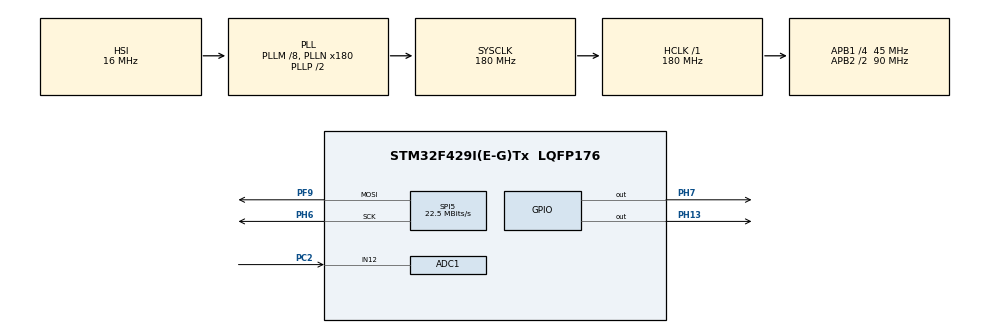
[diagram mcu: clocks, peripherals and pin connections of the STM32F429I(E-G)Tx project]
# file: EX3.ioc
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ADC1.Channel-0\#ChannelRegularConversion=ADC_CHANNEL_12
ADC1.DMAContinuousRequests=ENABLE
ADC1.ExternalTrigConv=ADC_EXTERNALTRIGCONV_T3_TRGO
ADC1.NbrOfConversionFlag=1
ADC1.Rank-0\#ChannelRegularConversion=1
ADC1.SamplingTime-0\#ChannelRegularConversion=ADC_SAMPLETIME_3CYCLES
ADC1.master=1
Dma.ADC1.0.Direction=DMA_PERIPH_TO_MEMORY
Dma.ADC1.0.FIFOMode=DMA_FIFOMODE_DISABLE
Dma.ADC1.0.Instance=DMA2_Stream0
Dma.ADC1.0.MemDataAlignment=DMA_MDATAALIGN_HALFWORD
Dma.ADC1.0.MemInc=DMA_MINC_ENABLE
Dma.ADC1.0.Mode=DMA_CIRCULAR
Dma.ADC1.0.PeriphDataAlignment=DMA_PDATAALIGN_HALFWORD
Dma.ADC1.0.PeriphInc=DMA_PINC_DISABLE
Dma.ADC1.0.Priority=DMA_PRIORITY_LOW
Dma.Request0=ADC1
Mcu.Family=STM32F4
Mcu.Name=STM32F429I(E-G)Tx
Mcu.Package=LQFP176
NVIC.DMA2_Stream0_IRQn=true\:0\:0\:false\:false\:true\:false\:true\:true
NVIC.PriorityGroup=NVIC_PRIORITYGROUP_4
PA13.Mode=Serial_Wire
PA13.Signal=SYS_JTMS-SWDIO
PA14.Mode=Serial_Wire
PA14.Signal=SYS_JTCK-SWCLK
PC2.Signal=ADCx_IN12
PF9.GPIO_PuPd=GPIO_PULLUP
PF9.Mode=TX_Only_Simplex_Unidirect_Master
PF9.Signal=SPI5_MOSI
PH0/OSC_IN.Mode=HSE-External-Oscillator
PH0/OSC_IN.Signal=RCC_OSC_IN
PH1/OSC_OUT.Mode=HSE-External-Oscillator
PH1/OSC_OUT.Signal=RCC_OSC_OUT
PH13.GPIO_PuPd=GPIO_PULLUP
PH13.GPIO_Speed=GPIO_SPEED_FREQ_VERY_HIGH
PH13.Signal=GPIO_Output
PH6.GPIO_PuPd=GPIO_PULLUP
PH6.Mode=TX_Only_Simplex_Unidirect_Master
PH6.Signal=SPI5_SCK
PH7.GPIO_PuPd=GPIO_PULLUP
PH7.GPIO_Speed=GPIO_SPEED_FREQ_VERY_HIGH
PH7.PinState=GPIO_PIN_SET
PH7.Signal=GPIO_Output
ProjectManager.HeapSize=0x200
ProjectManager.StackSize=0x400
ProjectManager.TargetToolchain=CMake
RCC.48MHZClocksFreq_Value=90000000
RCC.AHBFreq_Value=180000000
RCC.APB1CLKDivider=RCC_HCLK_DIV4
RCC.APB1Freq_Value=45000000
RCC.APB1TimFreq_Value=90000000
RCC.APB2CLKDivider=RCC_HCLK_DIV2
RCC.APB2Freq_Value=90000000
RCC.APB2TimFreq_Value=180000000
RCC.CortexFreq_Value=180000000
RCC.HCLKFreq_Value=180000000
RCC.HSE_VALUE=25000000
RCC.HSI_VALUE=16000000
RCC.LSE_VALUE=32768
RCC.PLLM=8
RCC.PLLN=180
RCC.SYSCLKFreq_VALUE=180000000
RCC.SYSCLKSource=RCC_SYSCLKSOURCE_PLLCLK
RCC.VCOOutputFreq_Value=360000000
SH.ADCx_IN12.0=ADC1_IN12,IN12
SPI5.BaudRatePrescaler=SPI_BAUDRATEPRESCALER_4
SPI5.CalculateBaudRate=22.5 MBits/s
SPI5.Direction=SPI_DIRECTION_2LINES
SPI5.Mode=SPI_MODE_MASTER
SPI5.VirtualType=VM_MASTER
TIM3.AutoReloadPreload=TIM_AUTORELOAD_PRELOAD_ENABLE
TIM3.Period=900-1
TIM3.Prescaler=100-1
TIM3.TIM_MasterOutputTrigger=TIM_TRGO_UPDATE
VP_TIM3_VS_ClockSourceINT.Mode=Internal
board=custom

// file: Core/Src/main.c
/* USER CODE BEGIN Header */
/**
  ******************************************************************************
  * @file           : main.c
  * @brief          : Main program body
  ******************************************************************************
  * @attention
  *
  * Copyright (c) 2026 STMicroelectronics.
  * All rights reserved.
  *
  * This software is licensed under terms that can be found in the LICENSE file
  * in the root directory of this software component.
  * If no LICENSE file comes with this software, it is provided AS-IS.
  *
  ******************************************************************************
  */
/* USER CODE END Header */
#include "main.h"
#include "adc.h"
#include "dma.h"
#include "spi.h"
#include "tim.h"
#include "gpio.h"

/* USER CODE BEGIN Includes */
#include "lcd.h"
#include "lcd_init.h"
#include "pic.h"
#include "delay.h"
#include <string.h>

/* USER CODE END Includes */

/* USER CODE BEGIN PV */
#define ADC_BUF_SIZE      720U
#define WAVE_WINDOW       480U
#define ADC_DMA_SIZE      (ADC_BUF_SIZE * 2)
#define ADC_MAX_VALUE     4095U
#define ADC_REFRESH_MS    500U

static uint16_t adc_dma_buf[ADC_DMA_SIZE];
static uint16_t adc_frame[2][ADC_BUF_SIZE];
static uint16_t adc_draw_buf[ADC_BUF_SIZE];
static uint16_t wave_new_y[LCD_W];
static uint16_t wave_prev_y[LCD_W];
static uint8_t  wave_prev_valid = 0;
static volatile uint8_t adc_frame_idx = 0;
static volatile uint8_t adc_ready = 0;
static uint32_t last_draw_tick = 0;
/* USER CODE END PV */

void SystemClock_Config(void);
/* USER CODE BEGIN PFP */
static void LCD_ShowWaveform(const uint16_t *buf, uint16_t len);
/* USER CODE END PFP */

/* USER CODE BEGIN 0 */
/**
  * @brief  把DMA刚填满的一半搬运到显示快照，避免绘制时被DMA覆盖
  */
static void ADC_SaveFrame(const uint16_t *src)
{
  uint8_t idx = adc_frame_idx ^ 1;

  memcpy(adc_frame[idx], src, ADC_BUF_SIZE * sizeof(uint16_t));
  adc_frame_idx = idx;
  adc_ready = 1;
}

/**
  * @brief  DMA半满回调：前半缓冲区已填满，复制到快照
  */
void HAL_ADC_ConvHalfCpltCallback(ADC_HandleTypeDef *hadc)
{
  if (hadc->Instance == ADC1)
  {
    ADC_SaveFrame(&adc_dma_buf[0]);
  }
}

/**
  * @brief  DMA全满回调：后半缓冲区已填满，复制到快照
  */
void HAL_ADC_ConvCpltCallback(ADC_HandleTypeDef *hadc)
{
  if (hadc->Instance == ADC1)
  {
    ADC_SaveFrame(&adc_dma_buf[ADC_BUF_SIZE]);
  }
}

/**
  * @brief  在固定时间窗内绘制波形：直接从缓冲区起点取固定 WAVE_WINDOW
  *         个采样点，线性插值后映射到屏幕宽度。横轴代表固定时间，
  *         频率变化时屏幕上显示的周期数会跟着变化，且不会出现拼接断点。
  * @param  buf 采样缓冲区
  * @param  len 采样点数
  */
static void LCD_ShowWaveform(const uint16_t *buf, uint16_t len)
{
  uint16_t x;
  uint16_t idx;
  float pos, frac, v;
  const uint16_t dw = LCD_W;
  const uint16_t start = 0;

  if (len < WAVE_WINDOW + 1) return;

  for (x = 0; x < dw; x++)
  {
    pos = (float)start + (float)x * (float)(WAVE_WINDOW - 1) / (float)(dw - 1);
    idx = (uint16_t)pos;
    if (idx >= (uint16_t)(len - 1))
    {
      idx = (uint16_t)(len - 2);
    }
    frac = pos - (float)idx;
    v = (float)buf[idx] + ((float)buf[idx + 1] - (float)buf[idx]) * frac;
    if (v < 0.0f) v = 0.0f;
    if (v > (float)ADC_MAX_VALUE) v = (float)ADC_MAX_VALUE;

    wave_new_y[x] = (uint16_t)(LCD_H - 1 - ((uint32_t)(v + 0.5f) * (LCD_H - 1)) / ADC_MAX_VALUE);
  }

  for (x = 0; x < dw; x++)
  {
    uint16_t nt, nb, ot, ob, y;

    if (x == 0)
    {
      nt = nb = wave_new_y[0];
      ot = ob = wave_prev_y[0];
    }
    else
    {
      nt = (wave_new_y[x] < wave_new_y[x - 1]) ? wave_new_y[x] : wave_new_y[x - 1];
      nb = (wave_new_y[x] > wave_new_y[x - 1]) ? wave_new_y[x] : wave_new_y[x - 1];
      ot = (wave_prev_y[x] < wave_prev_y[x - 1]) ? wave_prev_y[x] : wave_prev_y[x - 1];
      ob = (wave_prev_y[x] > wave_prev_y[x - 1]) ? wave_prev_y[x] : wave_prev_y[x - 1];
    }

    if (!wave_prev_valid)
    {
      for (y = nt; y <= nb; y++)
      {
        LCD_DrawPoint(x, y, CYAN);
      }
    }
    else
    {
      for (y = nt; y <= nb; y++)
      {
        if ((y < ot) || (y > ob))
        {
          LCD_DrawPoint(x, y, CYAN);
        }
      }
      for (y = ot; y <= ob; y++)
      {
        if ((y < nt) || (y > nb))
        {
          LCD_DrawPoint(x, y, BLACK);
        }
      }
    }
  }

  memcpy(wave_prev_y, wave_new_y, dw * sizeof(uint16_t));
  wave_prev_valid = 1;
}
/* USER CODE END 0 */

int main(void)
{

  /* MCU Configuration--------------------------------------------------------*/

  /* Reset of all peripherals, Initializes the Flash interface and the Systick. */
  HAL_Init();

  /* Configure the system clock */
  SystemClock_Config();

  /* Initialize all configured peripherals */
  MX_GPIO_Init();
  MX_DMA_Init();
  MX_ADC1_Init();
  MX_SPI5_Init();
  MX_TIM3_Init();
  /* USER CODE BEGIN 2 */
  delay_init(180);
  LCD_Init();
  LCD_Fill(0, 0, LCD_W, LCD_H, BLACK);

  HAL_ADC_Start_DMA(&hadc1, (uint32_t *)adc_dma_buf, ADC_DMA_SIZE);
  HAL_TIM_Base_Start(&htim3);
  /* USER CODE END 2 */

  /* Infinite loop */
  while (1)
  {

    /* USER CODE BEGIN 3 */
    if (adc_ready && ((HAL_GetTick() - last_draw_tick) >= ADC_REFRESH_MS))
    {
      adc_ready = 0;
      last_draw_tick = HAL_GetTick();

      __disable_irq();
      memcpy(adc_draw_buf, adc_frame[adc_frame_idx], sizeof(adc_draw_buf));
      __enable_irq();

      LCD_ShowWaveform(adc_draw_buf, ADC_BUF_SIZE);
    }
  }
  /* USER CODE END 3 */
}

void SystemClock_Config(void)
{
  RCC_OscInitTypeDef RCC_OscInitStruct = {0};
  RCC_ClkInitTypeDef RCC_ClkInitStruct = {0};

  /** Configure the main internal regulator output voltage
  */
  __HAL_RCC_PWR_CLK_ENABLE();
  __HAL_PWR_VOLTAGESCALING_CONFIG(PWR_REGULATOR_VOLTAGE_SCALE1);

  /** Initializes the RCC Oscillators according to the specified parameters
  * in the RCC_OscInitTypeDef structure.
  */
  RCC_OscInitStruct.OscillatorType = RCC_OSCILLATORTYPE_HSI;
  RCC_OscInitStruct.HSIState = RCC_HSI_ON;
  RCC_OscInitStruct.HSICalibrationValue = RCC_HSICALIBRATION_DEFAULT;
  RCC_OscInitStruct.PLL.PLLState = RCC_PLL_ON;
  RCC_OscInitStruct.PLL.PLLSource = RCC_PLLSOURCE_HSI;
  RCC_OscInitStruct.PLL.PLLM = 8;
  RCC_OscInitStruct.PLL.PLLN = 180;
  RCC_OscInitStruct.PLL.PLLP = RCC_PLLP_DIV2;
  RCC_OscInitStruct.PLL.PLLQ = 4;
  if (HAL_RCC_OscConfig(&RCC_OscInitStruct) != HAL_OK)
  {
    Error_Handler();
  }

  /** Activate the Over-Drive mode
  */
  if (HAL_PWREx_EnableOverDrive() != HAL_OK)
  {
    Error_Handler();
  }

  /** Initializes the CPU, AHB and APB buses clocks
  */
  RCC_ClkInitStruct.ClockType = RCC_CLOCKTYPE_HCLK|RCC_CLOCKTYPE_SYSCLK
                              |RCC_CLOCKTYPE_PCLK1|RCC_CLOCKTYPE_PCLK2;
  RCC_ClkInitStruct.SYSCLKSource = RCC_SYSCLKSOURCE_PLLCLK;
  RCC_ClkInitStruct.AHBCLKDivider = RCC_SYSCLK_DIV1;
  RCC_ClkInitStruct.APB1CLKDivider = RCC_HCLK_DIV4;
  RCC_ClkInitStruct.APB2CLKDivider = RCC_HCLK_DIV2;

  if (HAL_RCC_ClockConfig(&RCC_ClkInitStruct, FLASH_LATENCY_5) != HAL_OK)
  {
    Error_Handler();
  }
}

void Error_Handler(void)
{
  __disable_irq();
  while (1)
  {
  }
}
